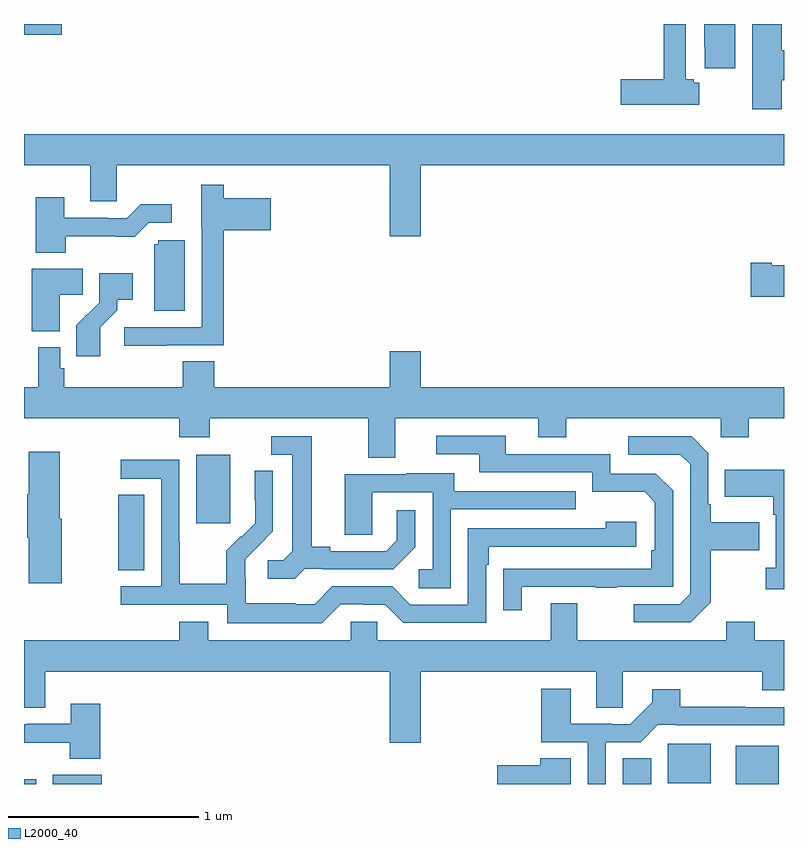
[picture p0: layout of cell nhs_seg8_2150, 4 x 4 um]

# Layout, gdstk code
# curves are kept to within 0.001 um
import gdstk
lib = gdstk.Library(unit=1e-6, precision=1e-09)
def R(c, l, rs):  # rectangles x0, y0, x1, y1
    for r in rs: c.add(gdstk.rectangle(r[:2], r[2:], *l))
def P(c, l, *ps):  # polygons
    for p in ps: c.add(gdstk.Polygon(p, *l))
L2000_40 = (2000, 40)

nhs_seg8_2150 = lib.new_cell('nhs_seg8_2150')
R(nhs_seg8_2150, L2000_40, [(247,1123.9,247.065,1123.924), (247.15,1123.9,247.408,1123.948), (250.151,1123.9,250.3,1124.036), (250.745,1123.9,250.972,1124.101), (250.388,1123.904,250.615,1124.113), (247.495,1125.025,247.633,1125.422), (247.907,1125.273,248.086,1125.634), (247,1127.843,247.198,1127.9)])
P(nhs_seg8_2150, L2000_40, [(250.744,1127.9),(250.58,1127.9),(250.58,1127.779),(250.582,1127.779),(250.582,1127.667),(250.744,1127.667)],
  [(250.553,1127.591),(250.524,1127.591),(250.524,1127.61),(250.482,1127.61),(250.482,1127.9),(250.366,1127.9),(250.366,1127.609),(250.14,1127.609),(250.14,1127.474),(250.553,1127.474)],
  [(250.987,1127.603),(251,1127.603),(251,1127.761),(250.987,1127.761),(250.987,1127.9),(250.832,1127.9),(250.832,1127.451),(250.987,1127.451)],
  [(249.088,1127.156),(251,1127.156),(251,1127.32),(247,1127.32),(247,1127.156),(247.349,1127.156),(247.349,1126.966),(247.488,1126.966),(247.488,1127.156),(248.924,1127.156),(248.924,1126.782),(249.088,1126.782)],
  [(247.751,1126.209),(248.051,1126.209),(248.051,1126.814),(248.299,1126.814),(248.299,1126.984),(248.051,1126.984),(248.051,1127.053),(247.934,1127.053),(247.934,1126.83),(247.935,1126.83),(247.935,1126.305),(247.527,1126.305),(247.527,1126.207),(247.751,1126.207)],
  [(247.221,1126.782),(247.583,1126.781),(247.656,1126.854),(247.777,1126.854),(247.777,1126.951),(247.615,1126.951),(247.542,1126.878),(247.442,1126.878),(247.442,1126.881),(247.213,1126.881),(247.213,1126.987),(247.061,1126.987),(247.061,1126.697),(247.221,1126.697)],
  [(247.846,1126.761),(247.707,1126.761),(247.707,1126.74),(247.685,1126.74),(247.685,1126.392),(247.846,1126.392)],
  [(251,1126.63),(250.936,1126.63),(250.936,1126.643),(250.824,1126.643),(250.824,1126.465),(251,1126.465)],
  [(247.189,1126.474),(247.31,1126.474),(247.31,1126.612),(247.04,1126.612),(247.04,1126.283),(247.189,1126.283)],
  [(247.402,1126.303),(247.492,1126.393),(247.492,1126.448),(247.573,1126.448),(247.573,1126.588),(247.395,1126.588),(247.395,1126.433),(247.276,1126.314),(247.276,1126.152),(247.402,1126.152)],
  [(248.953,1125.824),(249.707,1125.824),(249.707,1125.725),(249.855,1125.725),(249.855,1125.824),(250.668,1125.824),(250.668,1125.725),(250.815,1125.725),(250.815,1125.824),(251,1125.824),(251,1125.988),(249.088,1125.988),(249.088,1126.177),(248.924,1126.177),(248.924,1125.988),(248,1125.988),(248,1126.124),(247.835,1126.124),(247.835,1125.988),(247.211,1125.988),(247.211,1126.089),(247.191,1126.089),(247.191,1126.198),(247.075,1126.198),(247.075,1125.988),(247,1125.988),(247,1125.824),(247.817,1125.824),(247.817,1125.725),(247.977,1125.725),(247.977,1125.824),(248.813,1125.824),(248.813,1125.616),(248.953,1125.616)],
  [(249.619,1124.937),(250.009,1124.937),(250.009,1124.932),(250.121,1124.932),(250.121,1124.937),(250.416,1124.937),(250.416,1125.444),(250.326,1125.534),(250.086,1125.534),(250.086,1125.636),(249.535,1125.636),(249.535,1125.732),(249.171,1125.732),(249.171,1125.636),(249.395,1125.636),(249.395,1125.54),(249.99,1125.54),(249.99,1125.437),(250.267,1125.437),(250.32,1125.384),(250.32,1125.13),(250.3,1125.13),(250.3,1125.033),(249.523,1125.032),(249.523,1124.814),(249.619,1124.814)],
  [(248.478,1125.033),(248.572,1125.033),(248.572,1125.03),(248.944,1125.03),(249.06,1125.146),(249.06,1125.34),(248.963,1125.34),(248.963,1125.183),(248.906,1125.126),(248.611,1125.126),(248.611,1125.149),(248.515,1125.149),(248.515,1125.729),(248.301,1125.729),(248.301,1125.633),(248.411,1125.633),(248.411,1125.125),(248.364,1125.078),(248.283,1125.078),(248.283,1124.981),(248.426,1124.981)],
  [(250.615,1124.857),(250.615,1125.13),(250.871,1125.13),(250.871,1125.277),(250.615,1125.277),(250.615,1125.373),(250.602,1125.373),(250.602,1125.642),(250.515,1125.729),(250.179,1125.729),(250.179,1125.633),(250.455,1125.633),(250.506,1125.582),(250.506,1124.901),(250.452,1124.847),(250.209,1124.847),(250.209,1124.751),(250.509,1124.751)],
  [(247.198,1125.297),(247.188,1125.297),(247.188,1125.649),(247.025,1125.649),(247.025,1125.425),(247.018,1125.425),(247.018,1125.197),(247.025,1125.197),(247.025,1124.957),(247.198,1124.957)],
  [(248.667,1124.847),(248.783,1124.847),(248.783,1124.844),(248.901,1124.844),(248.997,1124.748),(249.432,1124.748),(249.432,1125.053),(249.445,1125.053),(249.445,1125.15),(250.222,1125.15),(250.222,1125.28),(250.061,1125.28),(250.061,1125.246),(249.336,1125.246),(249.336,1124.844),(249.033,1124.844),(248.937,1124.94),(248.622,1124.94),(248.529,1124.847),(248.429,1124.847),(248.429,1124.851),(248.166,1124.851),(248.166,1124.985),(248.164,1124.985),(248.164,1125.082),(248.31,1125.23),(248.31,1125.548),(248.214,1125.548),(248.214,1125.394),(248.216,1125.394),(248.216,1125.272),(248.145,1125.201),(248.142,1125.204),(248.065,1125.127),(248.065,1124.953),(247.821,1124.953),(247.821,1125.176),(247.818,1125.176),(247.818,1125.606),(247.509,1125.606),(247.509,1125.507),(247.722,1125.507),(247.722,1124.94),(247.509,1124.94),(247.509,1124.844),(248.07,1124.844),(248.07,1124.747),(248.567,1124.747)],
  [(251,1125.553),(250.687,1125.553),(250.687,1125.413),(250.944,1125.413),(250.944,1125.317),(250.956,1125.317),(250.956,1125.038),(250.905,1125.038),(250.905,1124.925),(251,1124.925)],
  [(249.246,1125.345),(249.905,1125.345),(249.905,1125.441),(249.265,1125.441),(249.265,1125.535),(249.011,1125.535),(249.011,1125.531),(248.687,1125.531),(248.687,1125.211),(248.832,1125.211),(248.832,1125.435),(249.15,1125.435),(249.15,1125.03),(249.078,1125.03),(249.078,1124.929),(249.246,1124.929)],
  [(249.088,1124.492),(250.013,1124.492),(250.013,1124.302),(250.152,1124.302),(250.152,1124.492),(250.885,1124.492),(250.885,1124.393),(251,1124.393),(251,1124.656),(250.845,1124.656),(250.845,1124.755),(250.697,1124.755),(250.697,1124.656),(249.913,1124.656),(249.913,1124.851),(249.773,1124.851),(249.773,1124.656),(248.859,1124.656),(248.859,1124.754),(248.721,1124.754),(248.721,1124.656),(247.969,1124.656),(247.969,1124.755),(247.817,1124.755),(247.817,1124.656),(247,1124.656),(247,1124.302),(247.111,1124.302),(247.111,1124.492),(248.924,1124.492),(248.924,1124.118),(249.088,1124.118)],
  [(250.062,1124.121),(250.246,1124.121),(250.336,1124.211),(250.432,1124.211),(250.432,1124.208),(251,1124.208),(251,1124.304),(250.796,1124.304),(250.796,1124.306),(250.455,1124.306),(250.455,1124.398),(250.307,1124.398),(250.307,1124.33),(250.191,1124.214),(250.097,1124.214),(250.097,1124.217),(249.877,1124.217),(249.877,1124.401),(249.722,1124.401),(249.722,1124.121),(249.966,1124.121),(249.966,1123.9),(250.062,1123.9)],
  [(247.4,1124.323),(247.247,1124.323),(247.247,1124.217),(247.018,1124.217),(247.018,1124.214),(247,1124.214),(247,1124.118),(247.24,1124.118),(247.24,1124.033),(247.4,1124.033)],
  [(249.877,1124.036),(249.716,1124.036),(249.716,1124),(249.492,1124),(249.492,1123.9),(249.877,1123.9)])

lib.write_gds('nhs_seg8_2150.gds')
